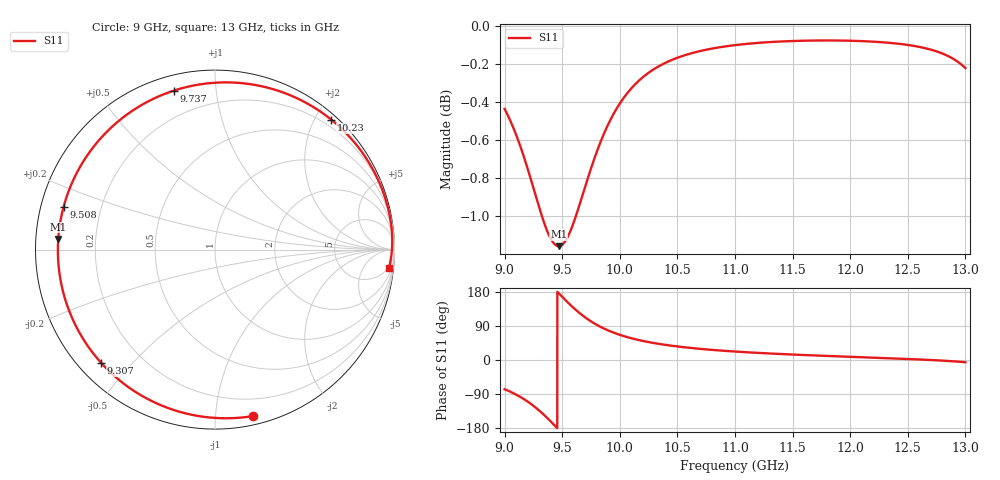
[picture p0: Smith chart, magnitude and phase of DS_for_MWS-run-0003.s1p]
! TOUCHSTONE file generated by CST DESIGN STUDIO
! Date and time: Wed Feb  5 13:45:07 2025
! Project name: C:\Work\MatlabApps\UnitCellOptimizationMatlab\CST\unitcell.cst
! Tree item: Tasks\Sweep1\SPara1\S-Parameters
! Header version: 2024
! Port assignment regex: !\s*Touchstone port\s*([0-9]+)\s*=\s*(CST MWS port|CST DES external port|CST DES block port)\s*(.+)\s* \(\"(.*)\"\)(\s*mode\s*([0-9]+))?.*
! Touchstone port assignment:
! Touchstone port 1 = CST DES external port 1 ("")
# GHz S MA R 50
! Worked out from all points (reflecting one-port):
!   4001 points, 9 GHz to 13 GHz, reference 50 ohm
!   lowest |S11| = -1.2 dB at 9.47 GHz (marker M1), VSWR 15.04, Z = 3.33 + j1.69 ohm
!   phase of S11 starts at -77 deg and turns -289 deg over the sweep
!   S11 on the Smith chart (normalised r, x): 9 GHz: 0.06, -1.25; 9.307 GHz: 0.06, -0.41; 9.508 GHz: 0.07, +0.14; 9.737 GHz: 0.07, +0.77; 10.23 GHz: 0.09, +2.24; 13 GHz: 4, -18
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9  0.9512 -77.2
9.076  0.9404 -87.6
9.174  0.9227 -104.4
9.243  0.9082 -119.2
9.307  0.8947 -135.2
9.349  0.8867 -146.8
9.394  0.8801 -160.2
9.432  0.8765 -171.9
9.47  0.8753 176.1
9.5  0.8761 166.7
9.508  0.8766 164.2
9.568  0.8829 146.2
9.623  0.8922 130.9
9.678  0.9031 117.3
9.737  0.915 104.5
9.798  0.9264 93.2
9.868  0.9379 82.2
10  0.9543 66.4
10.11  0.9639 56.7
10.235  0.9715 48.1
10.358  0.9768 41.6
10.5  0.9812 35.7
10.722  0.9855 28.7
11  0.9887 22.3
11.5  0.9912 14.4
12  0.9913 8.4
12.5  0.9888 2.8
13  0.975 -5.9
